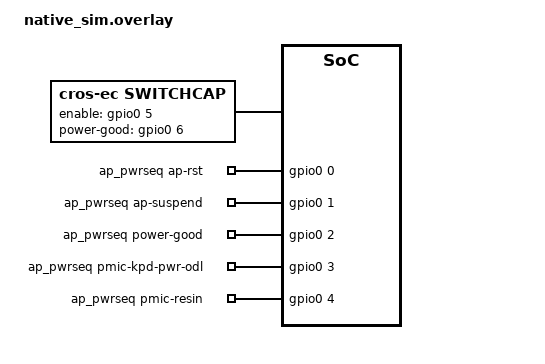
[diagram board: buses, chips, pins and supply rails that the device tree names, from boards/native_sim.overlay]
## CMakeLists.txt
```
# Copyright 2026 The ChromiumOS Authors
# Use of this source code is governed by a BSD-style license that can be
# found in the LICENSE file.

cmake_minimum_required(VERSION 3.13.1)
find_package(Zephyr REQUIRED HINTS "${ZEPHYR_BASE}")
project(qcom_ap_pwrseq)

zephyr_include_directories(
  "${PLATFORM_EC}/zephyr/shim/include"
  "${PLATFORM_EC}/test"
  "${PLATFORM_EC}"
  "${PLATFORM_EC}/include"
  "${PLATFORM_EC}/zephyr/test/test_utils"
)

zephyr_compile_definitions(
  CHROMIUM_EC
  CONFIG_ZEPHYR
  CONFIG_AP_POWER_CONTROL
  CONFIG_PLATFORM_EC_PRESERVED_END_OF_RAM_SIZE=1024
)

target_sources(app PRIVATE src/main.c src/mock_switchcap.c src/mock_input.c src/mock_chipset.c)
```

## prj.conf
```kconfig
# Copyright 2026 The ChromiumOS Authors
# Use of this source code is governed by a BSD-style license that can be
# found in the LICENSE file.

CONFIG_ZTEST=y
CONFIG_GPIO=y
CONFIG_GPIO_EMUL=y
CONFIG_QCOM_AP_PWRSEQ_DRIVER=y
CONFIG_CROS_SWITCHCAP=n
```

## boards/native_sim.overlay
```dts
/* Copyright 2026 The ChromiumOS Authors
 * Use of this source code is governed by a BSD-style license that can be
 * found in the LICENSE file.
 */

#include <board-overlays/native_sim.dts>
#include <zephyr/dt-bindings/gpio/gpio.h>

/ {
	switchcap: switchcap {
		compatible = "cros-ec,switchcap";
		enable-gpios = <&gpio0 5 GPIO_ACTIVE_HIGH>;
		power-good-gpios = <&gpio0 6 GPIO_ACTIVE_HIGH>;
	};

	ap_pwrseq: ap-pwrseq {
		compatible = "cros-ec,qcom-ap-pwrseq";
		switchcap = <&switchcap>;
		ap-rst-gpios = <&gpio0 0 GPIO_ACTIVE_HIGH>;
		ap-suspend-gpios = <&gpio0 1 GPIO_ACTIVE_HIGH>;
		power-good-gpios = <&gpio0 2 GPIO_ACTIVE_HIGH>;
		pmic-kpd-pwr-odl-gpios = <&gpio0 3 GPIO_ACTIVE_HIGH>;
		pmic-resin-gpios = <&gpio0 4 GPIO_ACTIVE_HIGH>;
	};
};
```

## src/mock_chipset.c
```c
/* Copyright 2026 The ChromiumOS Authors
 * Use of this source code is governed by a BSD-style license that can be
 * found in the LICENSE file.
 */

#include "hooks.h"
#include "mock_chipset.h"
#include "system.h"

#include <stdbool.h>
#include <stdint.h>
#include <string.h>

#include <zephyr/ztest.h>

atomic_t sleep_mask;
bool mock_can_boot_ap = true;
uint32_t mock_reset_flags;
int mock_hook_notify_count[HOOK_TYPE_COUNT];

int system_can_boot_ap(void)
{
	return mock_can_boot_ap;
}

uint32_t system_get_reset_flags(void)
{
	return mock_reset_flags;
}

void hook_notify(enum hook_type type)
{
	zassert_true(type >= 0 && type < HOOK_TYPE_COUNT);
	mock_hook_notify_count[type]++;
}

/* Additional functions for test verification */

void mock_chipset_reset_state(void)
{
	mock_can_boot_ap = true;
	mock_reset_flags = 0;
	memset(mock_hook_notify_count, 0, sizeof(mock_hook_notify_count));
}

int mock_get_hook_notify_count(enum hook_type type)
{
	zassert_true(type >= 0 && type < HOOK_TYPE_COUNT);
	return mock_hook_notify_count[type];
}

void mock_clear_hook_notify_counts(void)
{
	memset(mock_hook_notify_count, 0, sizeof(mock_hook_notify_count));
}
```

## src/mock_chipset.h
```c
/* Copyright 2026 The ChromiumOS Authors
 * Use of this source code is governed by a BSD-style license that can be
 * found in the LICENSE file.
 */

#ifndef ZEPHYR_TEST_QCOM_AP_PWRSEQ_SRC_MOCK_CHIPSET_H_
#define ZEPHYR_TEST_QCOM_AP_PWRSEQ_SRC_MOCK_CHIPSET_H_

#include "hooks.h"

#include <stdbool.h>
#include <stdint.h>

extern bool mock_can_boot_ap;
extern uint32_t mock_reset_flags;
extern int mock_hook_notify_count[HOOK_TYPE_COUNT];

void mock_chipset_reset_state(void);
int mock_get_hook_notify_count(enum hook_type type);
void mock_clear_hook_notify_counts(void);

#endif /* ZEPHYR_TEST_QCOM_AP_PWRSEQ_SRC_MOCK_CHIPSET_H_ */
```

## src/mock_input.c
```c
/* Copyright 2026 The ChromiumOS Authors
 * Use of this source code is governed by a BSD-style license that can be
 * found in the LICENSE file.
 */

#include "hooks.h"
#include "lid_switch.h"
#include "mock_input.h"
#include "power_button.h"

#include <stdbool.h>

bool mock_power_button_pressed;
bool mock_lid_open;

void unused_hook_HOOK_POWER_BUTTON_CHANGE_qcom_power_button_changed(void);
void unused_hook_HOOK_LID_CHANGE_lid_state_change(void);

int power_button_is_pressed(void)
{
	return mock_power_button_pressed;
}

int lid_is_open(void)
{
	return mock_lid_open;
}

void mock_power_button_set(bool pressed)
{
	mock_power_button_pressed = pressed;
	unused_hook_HOOK_POWER_BUTTON_CHANGE_qcom_power_button_changed();
}

void mock_lid_set(bool open)
{
	mock_lid_open = open;
	unused_hook_HOOK_LID_CHANGE_lid_state_change();
}
```

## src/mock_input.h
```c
/* Copyright 2026 The ChromiumOS Authors
 * Use of this source code is governed by a BSD-style license that can be
 * found in the LICENSE file.
 */

#ifndef ZEPHYR_TEST_QCOM_AP_PWRSEQ_SRC_MOCK_INPUT_H_
#define ZEPHYR_TEST_QCOM_AP_PWRSEQ_SRC_MOCK_INPUT_H_

#include <stdbool.h>

extern bool mock_power_button_pressed;
extern bool mock_lid_open;

void mock_power_button_set(bool pressed);
void mock_lid_set(bool open);

#endif /* ZEPHYR_TEST_QCOM_AP_PWRSEQ_SRC_MOCK_INPUT_H_ */
```

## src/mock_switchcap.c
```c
/* Copyright 2026 The ChromiumOS Authors
 * Use of this source code is governed by a BSD-style license that can be
 * found in the LICENSE file.
 */

#include "mock_switchcap.h"

#include <stdbool.h>

#include <zephyr/device.h>
#include <zephyr/devicetree.h>
#include <zephyr/fff.h>

#include <drivers/cros_switchcap.h>

DEFINE_FAKE_VALUE_FUNC(int, mock_switchcap_set_power, const struct device *,
		       bool);
DEFINE_FAKE_VALUE_FUNC(bool, mock_switchcap_is_enabled, const struct device *);
DEFINE_FAKE_VALUE_FUNC(bool, mock_switchcap_is_power_good,
		       const struct device *);

static int custom_mock_switchcap_set_power(const struct device *dev,
					   bool enable)
{
	ARG_UNUSED(dev);

	mock_switchcap_is_enabled_fake.return_val = enable;
	return 0;
}

void mock_switchcap_reset_state(void)
{
	RESET_FAKE(mock_switchcap_set_power);
	RESET_FAKE(mock_switchcap_is_enabled);
	RESET_FAKE(mock_switchcap_is_power_good);
	mock_switchcap_set_power_fake.custom_fake =
		custom_mock_switchcap_set_power;
	mock_switchcap_is_power_good_fake.return_val = true;
}

static DEVICE_API(cros_switchcap, mock_switchcap_api) = {
	.set_power = mock_switchcap_set_power,
	.is_enabled = mock_switchcap_is_enabled,
	.is_power_good = mock_switchcap_is_power_good,
};

DEVICE_DT_DEFINE(DT_NODELABEL(switchcap), NULL, NULL, NULL, NULL, POST_KERNEL,
		 CONFIG_KERNEL_INIT_PRIORITY_DEVICE, &mock_switchcap_api);
```

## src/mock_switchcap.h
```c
/* Copyright 2026 The ChromiumOS Authors
 * Use of this source code is governed by a BSD-style license that can be
 * found in the LICENSE file.
 */

#ifndef ZEPHYR_TEST_QCOM_AP_PWRSEQ_SRC_MOCK_SWITCHCAP_H_
#define ZEPHYR_TEST_QCOM_AP_PWRSEQ_SRC_MOCK_SWITCHCAP_H_

#include <stdbool.h>

#include <zephyr/device.h>
#include <zephyr/fff.h>

DECLARE_FAKE_VALUE_FUNC(int, mock_switchcap_set_power, const struct device *,
			bool);
DECLARE_FAKE_VALUE_FUNC(bool, mock_switchcap_is_enabled, const struct device *);
DECLARE_FAKE_VALUE_FUNC(bool, mock_switchcap_is_power_good,
			const struct device *);

#define cros_switchcap_set_power_fake mock_switchcap_set_power_fake
#define cros_switchcap_is_enabled_fake mock_switchcap_is_enabled_fake
#define cros_switchcap_is_power_good_fake mock_switchcap_is_power_good_fake

void mock_switchcap_reset_state(void);

#endif /* ZEPHYR_TEST_QCOM_AP_PWRSEQ_SRC_MOCK_SWITCHCAP_H_ */
```

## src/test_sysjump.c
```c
/* Copyright 2026 The ChromiumOS Authors
 * Use of this source code is governed by a BSD-style license that can be
 * found in the LICENSE file.
 */

#include "ap_power/ap_power_interface.h"
#include "chipset.h"
#include "hooks.h"
#include "mock_chipset.h"
#include "system.h"

#include <zephyr/device.h>
#include <zephyr/devicetree.h>
#include <zephyr/drivers/gpio.h>
#include <zephyr/drivers/gpio/gpio_emul.h>
#include <zephyr/init.h>
#include <zephyr/ztest.h>

#define AP_PWRSEQ_NODE DT_NODELABEL(qcom_ap_pwrseq)

static const struct device *const ap_pwrseq_dev = DEVICE_DT_GET(AP_PWRSEQ_NODE);
static const struct gpio_dt_spec ap_suspend_gpio =
	GPIO_DT_SPEC_GET(AP_PWRSEQ_NODE, ap_suspend_gpios);
static const struct gpio_dt_spec power_good_gpio =
	GPIO_DT_SPEC_GET(AP_PWRSEQ_NODE, power_good_gpios);

#if defined(CONFIG_TEST_SYSJUMP_S0)
static const int power_good_init_val = 1;
static const int ap_suspend_init_val = 0;
static const enum chipset_state_mask expected_state = CHIPSET_STATE_ON;
static const bool expected_sleep_disabled = true;
#elif defined(CONFIG_TEST_SYSJUMP_S3)
static const int power_good_init_val = 1;
static const int ap_suspend_init_val = 1;
static const enum chipset_state_mask expected_state = CHIPSET_STATE_SUSPEND;
static const bool expected_sleep_disabled = false;
#elif defined(CONFIG_TEST_SYSJUMP_G3)
static const int power_good_init_val = 0;
static const int ap_suspend_init_val = 0;
static const enum chipset_state_mask expected_state = CHIPSET_STATE_HARD_OFF;
static const bool expected_sleep_disabled = false;
#endif

#define TEST_PRE_INIT_PRIO 80
BUILD_ASSERT(TEST_PRE_INIT_PRIO > CONFIG_GPIO_INIT_PRIORITY &&
	     TEST_PRE_INIT_PRIO < CONFIG_APPLICATION_INIT_PRIORITY);

static int sysjump_pre_init(void)
{
	system_set_reset_flags(EC_RESET_FLAG_SYSJUMP);
	gpio_pin_configure_dt(&power_good_gpio, GPIO_INPUT);
	gpio_pin_configure_dt(&ap_suspend_gpio, GPIO_INPUT);
	gpio_emul_input_set(power_good_gpio.port, power_good_gpio.pin,
			    power_good_init_val);
	gpio_emul_input_set(ap_suspend_gpio.port, ap_suspend_gpio.pin,
			    ap_suspend_init_val);
	return 0;
}
SYS_INIT(sysjump_pre_init, POST_KERNEL, TEST_PRE_INIT_PRIO);

static void verify_sysjump_init(void)
{
	zassert_true(device_is_ready(ap_pwrseq_dev));
	zassert_true(chipset_in_state(expected_state));
	zassert_equal(!!(atomic_get(&sleep_mask) & SLEEP_MASK_AP_RUN),
		      expected_sleep_disabled);

	ap_pwrseq_task_start();
	zassert_true(chipset_in_state(expected_state));
	zassert_equal(mock_get_hook_notify_count(HOOK_CHIPSET_PRE_INIT), 0);
	zassert_equal(mock_get_hook_notify_count(HOOK_CHIPSET_STARTUP), 0);
}

#if defined(CONFIG_TEST_SYSJUMP_S0)
/*
 * Verify sysjump initialization when AP is in S0 (power_good=1, ap_suspend=0):
 * 1. Check that the driver initializes in S0 and disables AP sleep.
 * 2. Start the power sequence task and verify it remains in S0 without
 *    triggering a new startup sequence.
 */
ZTEST(qcom_ap_pwrseq, test_init_sysjump_s0)
{
	verify_sysjump_init();
}
#elif defined(CONFIG_TEST_SYSJUMP_S3)
/*
 * Verify sysjump initialization when AP is in S3 (power_good=1, ap_suspend=1):
 * 1. Check that the driver initializes in S3 and enables AP sleep.
 * 2. Start the power sequence task and verify it remains in S3 without
 *    auto power-on.
 */
ZTEST(qcom_ap_pwrseq, test_init_sysjump_s3)
{
	verify_sysjump_init();
}
#elif defined(CONFIG_TEST_SYSJUMP_G3)
/*
 * Verify sysjump initialization when AP is in G3 (power_good=0):
 * 1. Check that the driver initializes in G3 and enables AP sleep.
 * 2. Start the power sequence task and verify it remains in G3 without
 *    auto power-on.
 */
ZTEST(qcom_ap_pwrseq, test_init_sysjump_g3)
{
	verify_sysjump_init();
}
#endif

ZTEST_SUITE(qcom_ap_pwrseq, NULL, NULL, NULL, NULL, NULL);
```
